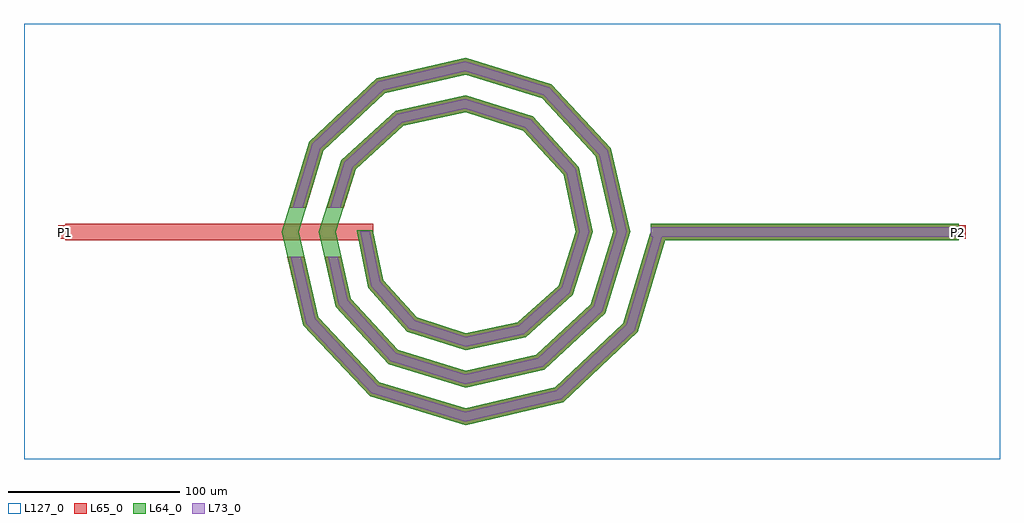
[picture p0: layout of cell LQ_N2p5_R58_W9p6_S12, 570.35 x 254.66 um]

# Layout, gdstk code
import gdstk
lib = gdstk.Library(unit=1e-6, precision=1e-09)
def R(c, l, rs):  # rectangles x0, y0, x1, y1
    for r in rs: c.add(gdstk.rectangle(r[:2], r[2:], *l))
def P(c, l, *ps):  # polygons
    for p in ps: c.add(gdstk.Polygon(p, *l))
L64_0 = (64, 0)
L65_0 = (65, 0)
L73_0 = (73, 0)
L127_0 = (127, 0)

lq_n2p5_r58_w9p6_s12 = lib.new_cell('LQ_N2p5_R58_W9p6_S12')
R(lq_n2p5_r58_w9p6_s12, L64_0, [(108.487,-4.8,288.487,4.8)])
P(lq_n2p5_r58_w9p6_s12, L64_0, [(-47.946,-28.004),(-28.438,-49.797),(0.263,-59.165),(30.714,-52.687),(54.516,-31.187),(64.626,0.242),(57.426,33.428),(33.934,59.236),(0.225,70.087),(-36.144,62.164),(-63.958,36.679),(-75.549,0.21),(-66.901,-38.862),(-39.421,-68.681),(0.196,-81.01),(41.582,-71.638),(73.405,-42.163),(86.472,0.185),(76.373,44.303),(44.903,78.129),(0.174,91.934),(-47.025,81.108),(-82.854,47.642),(-97.396,0.165),(-85.843,-49.748),(-50.381,-87.58),(0.157,-102.857),(52.472,-90.577),(92.306,-53.118),(108.69,1.382),(117.883,-1.382),(100.759,-58.348),(57.173,-99.334),(0.157,-112.792),(-55.623,-96.024),(-94.608,-54.435),(-107.33,0.165),(-91.289,52.9),(-51.696,89.882),(0.174,101.867),(50.177,86.554),(85.156,48.956),(96.405,0.185),(81.818,-47.455),(46.215,-80.432),(0.196,-90.943),(-44.734,-77.081),(-75.707,-43.473),(-85.48,0.21),(-72.344,42.015),(-40.729,70.984),(0.225,80.017),(39.298,67.605),(66.261,37.983),(74.555,0.242),(62.865,-36.582),(35.235,-61.54),(0.263,-69.092),(-33.87,-58.123),(-56.82,-32.483),(-63.366,0.976),(-53.967,0.976)])
R(lq_n2p5_r58_w9p6_s12, L65_0, [(-233.866,-4.8,-53.866,4.8), (108.487,-4.8,288.487,4.8), (-237.866,-4,-229.866,4), (284.487,-4,292.487,4)])
P(lq_n2p5_r58_w9p6_s12, L65_0, [(-85.843,-49.748),(-50.381,-87.58),(0.157,-102.858),(52.472,-90.577),(92.306,-53.118),(108.69,1.382),(117.884,-1.382),(100.759,-58.348),(57.173,-99.334),(0.157,-112.792),(-55.623,-96.024),(-94.608,-54.435),(-103.936,-14.4),(-94.079,-14.4)],
  [(-66.902,-38.862),(-39.421,-68.681),(0.196,-81.011),(41.582,-71.638),(73.405,-42.163),(86.472,0.185),(76.373,44.303),(44.903,78.129),(0.174,91.934),(-47.025,81.108),(-82.854,47.642),(-92.966,14.4),(-103,14.4),(-91.289,52.9),(-51.696,89.882),(0.174,101.867),(50.177,86.554),(85.157,48.956),(96.405,0.185),(81.818,-47.455),(46.215,-80.432),(0.196,-90.943),(-44.735,-77.081),(-75.707,-43.473),(-82.212,-14.4),(-72.374,-14.4)],
  [(-28.438,-49.797),(0.263,-59.165),(30.714,-52.687),(54.516,-31.187),(64.626,0.242),(57.426,33.428),(33.934,59.236),(0.225,70.088),(-36.144,62.164),(-63.958,36.679),(-70.958,14.4),(-81.021,14.4),(-72.344,42.015),(-40.729,70.984),(0.225,80.017),(39.298,67.605),(66.261,37.983),(74.555,0.242),(62.865,-36.582),(35.235,-61.54),(0.263,-69.092),(-33.87,-58.123),(-56.82,-32.483),(-63.366,0.976),(-53.967,0.976),(-47.946,-28.004)])
R(lq_n2p5_r58_w9p6_s12, L73_0, [(108.487,-2.8,288.487,2.8)])
P(lq_n2p5_r58_w9p6_s12, L73_0, [(-87.669,-50.725),(-51.473,-89.339),(0.091,-104.927),(53.452,-92.401),(94.067,-54.208),(110.605,0.806),(115.968,0.806),(98.998,-57.258),(56.194,-97.51),(0.091,-110.722),(-54.531,-94.265),(-92.782,-53.459),(-101.883,-14.4),(-96.133,-14.4)],
  [(-68.736,-39.823),(-40.528,-70.431),(0.115,-83.08),(42.547,-73.47),(75.157,-43.265),(88.542,0.108),(78.203,45.273),(46.002,79.884),(0.102,94.003),(-47.998,82.936),(-84.612,48.738),(-95.056,14.4),(-100.909,14.4),(-89.532,51.805),(-50.723,88.054),(0.102,99.798),(49.078,84.799),(83.327,47.987),(94.336,0.108),(80.065,-46.353),(45.25,-78.6),(0.115,-88.873),(-43.628,-75.331),(-73.873,-42.512),(-80.162,-14.4),(-74.424,-14.4)],
  [(-29.57,-51.532),(0.153,-61.233),(31.656,-54.531),(56.255,-32.311),(66.695,0.141),(59.267,34.377),(35.052,60.98),(0.131,72.156),(-37.099,64.002),(-65.705,37.79),(-73.055,14.4),(-78.925,14.4),(-70.597,40.903),(-39.774,69.146),(0.131,77.949),(38.18,65.862),(64.421,37.034),(72.486,0.141),(61.125,-35.458),(34.293,-59.696),(0.153,-67.024),(-32.738,-56.388),(-54.972,-31.55),(-61.408,0.57),(-55.925,0.57),(-49.795,-28.937)])
R(lq_n2p5_r58_w9p6_s12, L127_0, [(-257.866,-132.792,312.487,121.867)])
lq_n2p5_r58_w9p6_s12.add(gdstk.Label('P2', (288.487,0), layer=65, texttype=0))
lq_n2p5_r58_w9p6_s12.add(gdstk.Label('P1', (-233.866,0), layer=65, texttype=0))
lq_n2p5_r58_w9p6_s12.add(gdstk.Label('P2', (292.487,0), layer=145, texttype=0))
lq_n2p5_r58_w9p6_s12.add(gdstk.Label('P1', (-237.866,0), layer=145, texttype=0))

lib.write_gds('LQ_N2p5_R58_W9p6_S12.gds')
